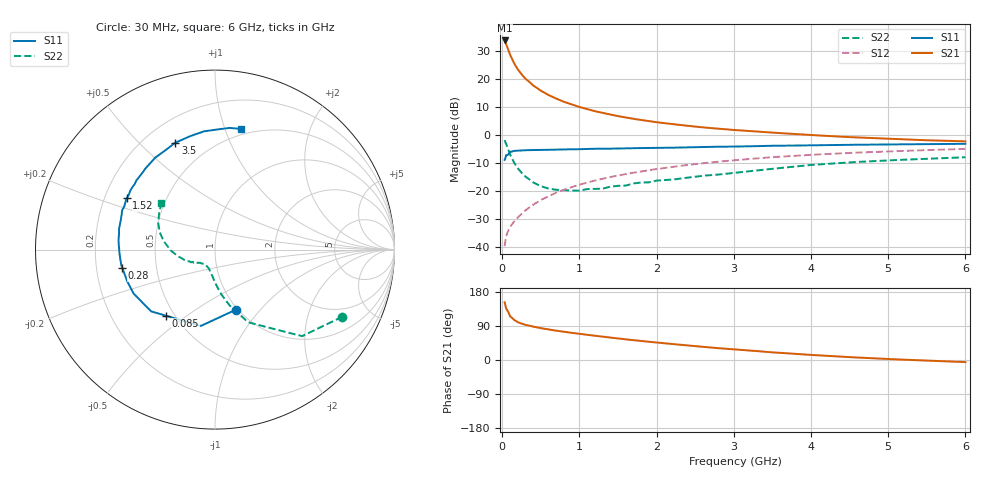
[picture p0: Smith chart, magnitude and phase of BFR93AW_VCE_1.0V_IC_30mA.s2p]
! Infineon Technologies  Discrete & RF Semiconductors
! BFR93AW
! VCE =  1.0 V,  IC =  30 mA
! Common Emitter S-Parameters:  Nov 2015
# GHz  S  MA  R  50
!  f  S11  S21  S12  S22
! GHz  MAG  ANG  MAG  ANG  MAG  ANG  MAG  ANG
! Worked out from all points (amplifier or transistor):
!   206 points, 30 MHz to 6 GHz, reference 50 ohm
!   highest |S21| = 33.7 dB at 30 MHz (marker M1)
!   |S21| within 3 dB of that: start of sweep to 73.27 MHz
!   unconditionally stable (mu >= 1): 381.2 MHz to 2.712 GHz
!   at 200 MHz: K = 0.85, MSG = 26.5 dB, |S12| = -29.6 dB
!   at 1.56 GHz: K = 1.06, MAG = 8.8 dB, |S12| = -14.3 dB
!   at 6 GHz: K = 0.98, MSG = 1.4 dB, |S12| = -5.1 dB
!   S11 on the Smith chart (normalised r, x): 30 MHz: 0.98, -0.75; 85 MHz: 0.45, -0.42; 280 MHz: 0.31, -0.09; 1.52 GHz: 0.29, +0.25; 3.5 GHz: 0.32, +0.64; 6 GHz: 0.45, +1.14
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0.03  0.3544 -70.8  48.34 152.3  0.0102 69.9  0.8021 -27.8
0.05  0.4326 -100.5  41.5 135.5  0.0154 62.8  0.6843 -44.8
0.085  0.4585 -126.6  30.84 123.4  0.0203 57.9  0.5088 -57.3
0.1  0.4952 -136.0  26.93 115.4  0.0225 56.5  0.4451 -65.5
0.15  0.5153 -151.6  19.1 105.9  0.0277 59.7  0.3207 -75.4
0.2  0.52 -160.1  14.76 99.9  0.0331 61.9  0.2522 -81.9
0.24  0.5219 -165.1  12.49 96.8  0.0373 64.0  0.2158 -85.7
0.28  0.5265 -168.8  10.78 94.1  0.0421 65.3  0.19 -88.9
0.3  0.5294 -170.4  10.03 92.7  0.0445 65.8  0.1789 -90.5
0.4  0.5321 -177.0  7.577 87.9  0.056 68.8  0.1404 -97.1
0.5  0.5362 178.1  6.105 83.9  0.068 69.6  0.1202 -104.0
0.6  0.5399 174.5  5.112 80.6  0.0796 70.4  0.109 -109.0
0.7  0.5413 171.0  4.413 77.3  0.0923 70.1  0.1038 -114.3
0.8  0.5471 167.7  3.867 74.5  0.1041 70.1  0.1019 -121.0
1.04  0.5527 160.9  3.021 68.0  0.1327 68.8  0.1027 -130.0
1.52  0.5691 149.6  2.125 56.4  0.189 64.8  0.1223 -143.4
2.02  0.5835 138.3  1.659 45.6  0.2457 59.7  0.1519 -152.4
3.1  0.617 117.4  1.19 26.6  0.3586 47.5  0.2142 -171.2
3.5  0.6352 110.4  1.09 20.1  0.3972 42.9  0.2464 -178.8
4.1  0.6492 100.9  0.97 12.3  0.4447 35.8  0.2945 169.2
5.1  0.6716 87.7  0.836 1.7  0.5086 24.9  0.353 153.3
6  0.6879 77.8  0.762 -5.5  0.5579 16.0  0.3954 139.0
